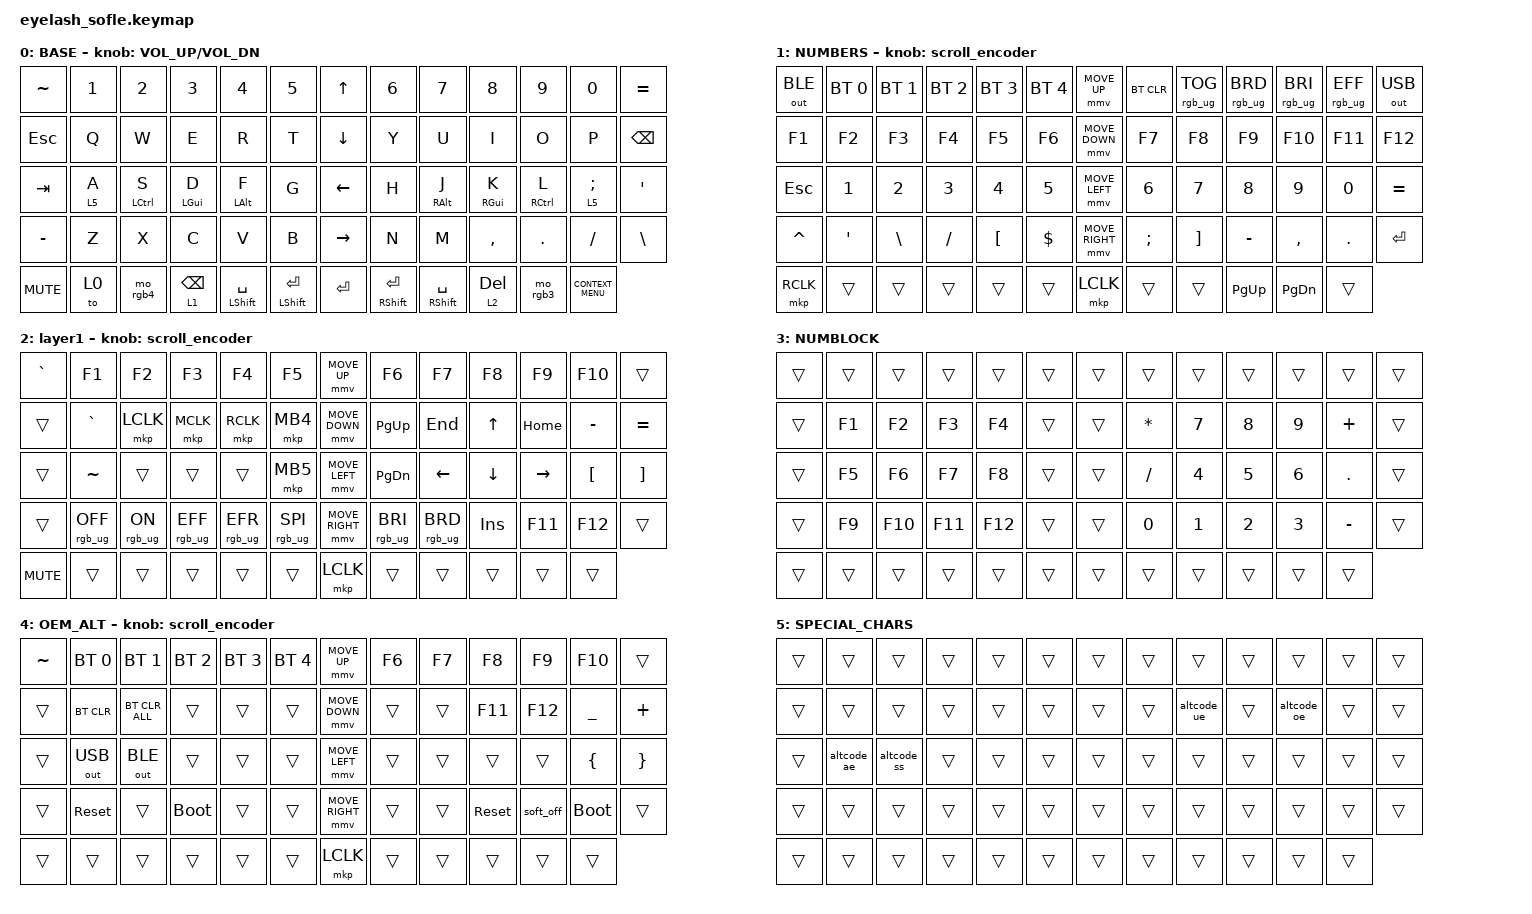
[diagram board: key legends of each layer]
#define ZMK_POINTING_DEFAULT_MOVE_VAL 1200  // 600
#define ZMK_POINTING_DEFAULT_SCRL_VAL 25   // 10

#include <input/processors.dtsi>
#include <zephyr/dt-bindings/input/input-event-codes.h>
#include <behaviors.dtsi>
#include <dt-bindings/zmk/bt.h>
#include <dt-bindings/zmk/keys.h>
#include <dt-bindings/zmk/outputs.h>
#include <dt-bindings/zmk/pointing.h>
#include <dt-bindings/zmk/rgb.h>

&mmv_input_listener { input-processors = <&zip_xy_scaler 2 1>; };

&msc_input_listener { input-processors = <&zip_scroll_scaler 2 1>; };

&msc {
    acceleration-exponent = <1>;      // 0
    time-to-max-speed-ms = <100>;       // 300
    delay-ms = <0>;                   // 0
};

&mmv {
    time-to-max-speed-ms = <500>;
    acceleration-exponent = <1>;
    trigger-period-ms = <16>;
};

&mt {
    flavor = "balanced";
    quick-tap-ms = <175>;
    tapping-term-ms = <300>;
    require-prior-idle-ms = <150>;
};

/ {
    scroll_encoder: scroll_encoder {
        compatible = "zmk,behavior-sensor-rotate";
        #sensor-binding-cells = <0>;
        bindings = <&msc SCRL_DOWN>, <&msc SCRL_UP>;

        tap-ms = <100>;
    };

    behaviors {
    };

    combos {
        compatible = "zmk,combos";

        shift-combo {
            bindings = <&kp RIGHT_SHIFT>;
            key-positions = <59 60>;
            layers = <0>;
        };

        enter-combo {
            bindings = <&kp ENTER>;
            key-positions = <57 56>;
            layers = <0>;
        };

        up {
            bindings = <&kp UP_ARROW>;
            key-positions = <22 35>;
        };

        down {
            bindings = <&kp DOWN_ARROW>;
            key-positions = <35 48>;
        };

        right {
            bindings = <&kp RIGHT_ARROW>;
            key-positions = <35 36>;
        };

        left {
            bindings = <&kp LEFT_ARROW>;
            key-positions = <35 34>;
        };
    };

    macros {
        mo_rgb1: mo_rgb1 {
            compatible = "zmk,behavior-macro";
            #binding-cells = <0>;
            bindings =
                <&rgb_ug RGB_COLOR_HSB(122,100,50) &mo 1>,
                <&macro_pause_for_release>,
                <&rgb_ug RGB_COLOR_HSB(179,100,50)>;

            label = "MO_RGB1";
        };

        mo_rgb2: mo_rgb2 {
            compatible = "zmk,behavior-macro";
            #binding-cells = <0>;
            bindings =
                <&rgb_ug RGB_COLOR_HSB(289,100,50) &mo 2>,
                <&macro_pause_for_release>,
                <&rgb_ug RGB_COLOR_HSB(179,100,50)>;

            label = "MO_RGB2";
        };

        mo_rgb3: mo_rgb3 {
            compatible = "zmk,behavior-macro";
            #binding-cells = <0>;
            bindings =
                <&tog 3 &rgb_ug RGB_COLOR_HSB(59,100,50)>,
                <&macro_pause_for_release>,
                <&rgb_ug RGB_COLOR_HSB(179,100,50) &tog 3>;

            label = "MO_RGB3";
        };

        mo_rgb4: mo_rgb4 {
            compatible = "zmk,behavior-macro";
            #binding-cells = <0>;
            bindings =
                <&tog 4 &rgb_ug RGB_COLOR_HSB(360,100,50)>,
                <&macro_pause_for_release>,
                <&rgb_ug RGB_COLOR_HSB(179,100,50) &tog 4>;

            label = "MO_RGB4";
        };

        altcode_ae: new_macro {
            compatible = "zmk,behavior-macro";
            #binding-cells = <0>;
            bindings = <&kt RIGHT_ALT &kp KP_NUMBER_0 &kp KP_NUMBER_2 &kp KP_NUMBER_2 &kp KP_NUMBER_8 &kt RIGHT_ALT>;
            label = "NEW_MACRO";
        };

        altcode_oe: altcode_oe {
            compatible = "zmk,behavior-macro";
            #binding-cells = <0>;
            bindings = <&kt RIGHT_ALT &kp KP_NUMBER_0 &kp KP_NUMBER_2 &kp KP_NUMBER_4 &kp KP_NUMBER_6 &kt RIGHT_ALT>;
            label = "ALTCODE_OE";
        };

        altcode_ue: altcode_ue {
            compatible = "zmk,behavior-macro";
            #binding-cells = <0>;
            bindings = <&kt RIGHT_ALT &kp KP_NUMBER_0 &kp KP_NUMBER_2 &kp KP_NUMBER_5 &kp KP_NUMBER_2 &kt RIGHT_ALT>;
            label = "ALTCODE_UE";
        };

        altcode_ss: altcode_ss {
            compatible = "zmk,behavior-macro";
            #binding-cells = <0>;
            bindings = <&kt RIGHT_ALT &kp KP_NUMBER_0 &kp KP_NUMBER_2 &kp KP_NUMBER_2 &kp KP_NUMBER_3 &kt RIGHT_ALT>;
            label = "ALTCODE_SS";
        };
    };

    keymap {
        compatible = "zmk,keymap";

        layer0 {
            bindings = <
&kp TILDE   &kp N1   &kp N2       &kp N3           &kp N4                &kp N5                  &kp UP_ARROW     &kp N6                 &kp N7                 &kp N8        &kp N9               &kp N0              &kp EQUAL
&kp ESCAPE  &kp Q    &kp W        &kp E            &kp R                 &kp T                   &kp DOWN_ARROW   &kp Y                  &kp U                  &kp I         &kp O                &kp P               &kp BACKSPACE
&kp TAB     &lt 5 A  &mt LCTRL S  &mt LGUI D       &mt LALT F            &kp G                   &kp LEFT_ARROW   &kp H                  &mt RIGHT_ALT J        &mt RGUI K    &mt RIGHT_CONTROL L  &lt 5 SEMICOLON     &kp SQT
&kp MINUS   &kp Z    &kp X        &kp C            &kp V                 &kp B                   &kp RIGHT_ARROW  &kp N                  &kp M                  &kp COMMA     &kp DOT              &kp FSLH            &kp BACKSLASH
&kp K_MUTE  &to 0    &mo_rgb4     &lt 1 BACKSPACE  &mt LEFT_SHIFT SPACE  &mt LEFT_SHIFT ENTER    &kp ENTER        &mt RIGHT_SHIFT ENTER  &mt RIGHT_SHIFT SPACE  &lt 2 DELETE  &mo_rgb3             &kp K_CONTEXT_MENU
            >;

            sensor-bindings = <&inc_dec_kp C_VOLUME_UP C_VOL_DN>;
            display-name = "BASE";
        };

        NUMBERS {
            bindings = <
&out OUT_BLE  &bt BT_SEL 0  &bt BT_SEL 1  &bt BT_SEL 2  &bt BT_SEL 3  &bt BT_SEL 4    &mmv MOVE_UP     &bt BT_CLR  &rgb_ug RGB_TOG  &rgb_ug RGB_BRD  &rgb_ug RGB_BRI  &rgb_ug RGB_EFF  &out OUT_USB
&kp F1        &kp F2        &kp F3        &kp F4        &kp F5        &kp F6          &mmv MOVE_DOWN   &kp F7      &kp F8           &kp F9           &kp F10          &kp F11          &kp F12
&kp ESC       &kp N1        &kp N2        &kp N3        &kp N4        &kp N5          &mmv MOVE_LEFT   &kp N6      &kp N7           &kp N8           &kp N9           &kp N0           &kp EQUAL
&kp CARET     &kp APOS      &kp BSLH      &kp FSLH      &kp LBKT      &kp DOLLAR      &mmv MOVE_RIGHT  &kp SEMI    &kp RBKT         &kp MINUS        &kp COMMA        &kp DOT          &kp ENTER
&mkp RCLK     &trans        &trans        &trans        &trans        &trans          &mkp LCLK        &trans      &trans           &kp PAGE_UP      &kp PAGE_DOWN    &trans
            >;

            sensor-bindings = <&scroll_encoder>;
        };

        NAV {
            bindings = <
&kp GRAVE   &kp F1           &kp F2          &kp F3           &kp F4           &kp F5             &mmv MOVE_UP     &kp F6           &kp F7           &kp F8      &kp F9     &kp F10           &trans
&trans      &kp GRAVE        &mkp LCLK       &mkp MCLK        &mkp RCLK        &mkp MB4           &mmv MOVE_DOWN   &kp PG_UP        &kp END          &kp UP      &kp HOME   &kp MINUS         &kp EQUAL
&trans      &kp TILDE        &trans          &trans           &trans           &mkp MB5           &mmv MOVE_LEFT   &kp PG_DN        &kp LEFT         &kp DOWN    &kp RIGHT  &kp LEFT_BRACKET  &kp RIGHT_BRACKET
&trans      &rgb_ug RGB_OFF  &rgb_ug RGB_ON  &rgb_ug RGB_EFF  &rgb_ug RGB_EFR  &rgb_ug RGB_SPI    &mmv MOVE_RIGHT  &rgb_ug RGB_BRI  &rgb_ug RGB_BRD  &kp INSERT  &kp F11    &kp F12           &trans
&kp C_MUTE  &trans           &trans          &trans           &trans           &trans             &mkp LCLK        &trans           &trans           &trans      &trans     &trans
            >;

            display-name = "layer1";
            sensor-bindings = <&scroll_encoder>;
        };

        NUMBLOCK {
            bindings = <
&trans  &trans  &trans   &trans   &trans   &trans    &trans  &trans        &trans  &trans  &trans  &trans     &trans
&trans  &kp F1  &kp F2   &kp F3   &kp F4   &trans    &trans  &kp ASTERISK  &kp N7  &kp N8  &kp N9  &kp PLUS   &trans
&trans  &kp F5  &kp F6   &kp F7   &kp F8   &trans    &trans  &kp SLASH     &kp N4  &kp N5  &kp N6  &kp DOT    &trans
&trans  &kp F9  &kp F10  &kp F11  &kp F12  &trans    &trans  &kp N0        &kp N1  &kp N2  &kp N3  &kp MINUS  &trans
&trans  &trans  &trans   &trans   &trans   &trans    &trans  &trans        &trans  &trans  &trans  &trans
            >;
        };

        OEM_ALT {
            bindings = <
&kp TILDE  &bt BT_SEL 0  &bt BT_SEL 1    &bt BT_SEL 2  &bt BT_SEL 3  &bt BT_SEL 4    &mmv MOVE_UP     &kp F6  &kp F7  &kp F8      &kp F9     &kp F10      &trans
&trans     &bt BT_CLR    &bt BT_CLR_ALL  &trans        &trans        &trans          &mmv MOVE_DOWN   &trans  &trans  &kp F11     &kp F12    &kp UNDER    &kp PLUS
&trans     &out OUT_USB  &out OUT_BLE    &trans        &trans        &trans          &mmv MOVE_LEFT   &trans  &trans  &trans      &trans     &kp LBRC     &kp RBRC
&trans     &sys_reset    &trans          &bootloader   &trans        &trans          &mmv MOVE_RIGHT  &trans  &trans  &sys_reset  &soft_off  &bootloader  &trans
&trans     &trans        &trans          &trans        &trans        &trans          &mkp LCLK        &trans  &trans  &trans      &trans     &trans
            >;

            sensor-bindings = <&scroll_encoder>;
        };

        SPECIAL_CHARS {
            bindings = <
&trans  &trans       &trans       &trans  &trans  &trans    &trans  &trans  &trans       &trans  &trans       &trans  &trans
&trans  &trans       &trans       &trans  &trans  &trans    &trans  &trans  &altcode_ue  &trans  &altcode_oe  &trans  &trans
&trans  &altcode_ae  &altcode_ss  &trans  &trans  &trans    &trans  &trans  &trans       &trans  &trans       &trans  &trans
&trans  &trans       &trans       &trans  &trans  &trans    &trans  &trans  &trans       &trans  &trans       &trans  &trans
&trans  &trans       &trans       &trans  &trans  &trans    &trans  &trans  &trans       &trans  &trans       &trans
            >;
        };
    };

    conditional_layers {
        compatible = "zmk,conditional-layers";

        layer_2 {
            if-layers = <1 3>;
            then-layer = <4>;
        };
    };
};
